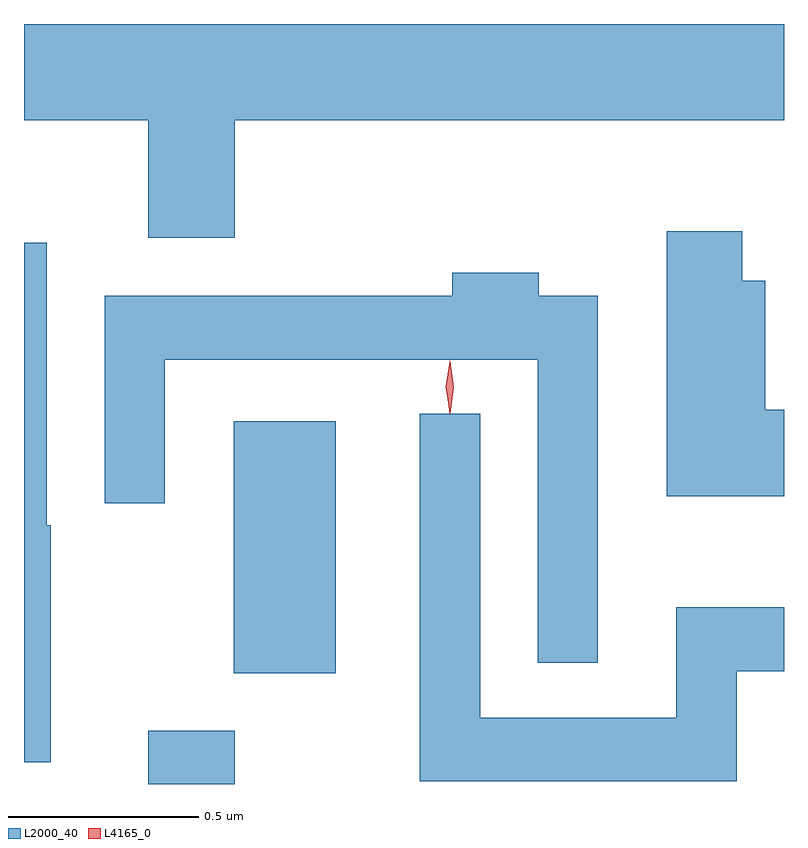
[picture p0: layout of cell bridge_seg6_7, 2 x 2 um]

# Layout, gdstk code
import gdstk
lib = gdstk.Library(unit=1e-6, precision=1e-09)
def R(c, l, rs):  # rectangles x0, y0, x1, y1
    for r in rs: c.add(gdstk.rectangle(r[:2], r[2:], *l))
def P(c, l, *ps):  # polygons
    for p in ps: c.add(gdstk.Polygon(p, *l))
L2000_40 = (2000, 40)
L4165_0 = (4165, 0)

bridge_seg6_7 = lib.new_cell('bridge_seg6_7')
R(bridge_seg6_7, L2000_40, [(1476.371,1639.309,1476.599,1639.449), (1476.596,1639.601,1476.864,1640.264)])
P(bridge_seg6_7, L2000_40, [(1476.599,1641.056),(1478.044,1641.056),(1478.044,1641.309),(1476.044,1641.309),(1476.044,1641.056),(1476.371,1641.056),(1476.371,1640.746),(1476.599,1640.746)],
  [(1478.044,1640.294),(1477.994,1640.294),(1477.994,1640.634),(1477.934,1640.634),(1477.934,1640.764),(1477.736,1640.764),(1477.736,1640.066),(1478.044,1640.066)],
  [(1476.114,1639.99),(1476.104,1639.99),(1476.104,1640.733),(1476.044,1640.733),(1476.044,1639.366),(1476.114,1639.366)],
  [(1477.554,1640.594),(1477.399,1640.594),(1477.399,1640.654),(1477.171,1640.654),(1477.171,1640.594),(1476.256,1640.594),(1476.256,1640.048),(1476.414,1640.048),(1476.414,1640.426),(1477.396,1640.426),(1477.396,1639.628),(1477.554,1639.628)],
  [(1477.919,1639.606),(1478.044,1639.606),(1478.044,1639.774),(1477.761,1639.774),(1477.761,1639.484),(1477.244,1639.484),(1477.244,1640.283),(1477.086,1640.283),(1477.086,1639.316),(1477.919,1639.316)])
P(bridge_seg6_7, L4165_0, [(1477.164,1640.284),(1477.155,1640.353),(1477.164,1640.422),(1477.165,1640.423),(1477.166,1640.422),(1477.175,1640.353),(1477.166,1640.284),(1477.165,1640.284)],
  [(1477.164,1640.287),(1477.164,1640.288),(1477.154,1640.354),(1477.164,1640.42),(1477.164,1640.42),(1477.165,1640.42),(1477.174,1640.354),(1477.165,1640.288)])

lib.write_gds('bridge_seg6_7.gds')
